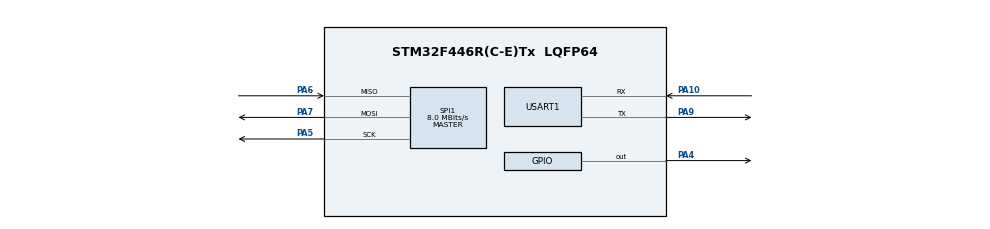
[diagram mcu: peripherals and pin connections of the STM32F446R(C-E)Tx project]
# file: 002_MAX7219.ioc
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Mcu.Family=STM32F4
Mcu.Name=STM32F446R(C-E)Tx
Mcu.Package=LQFP64
NVIC.PriorityGroup=NVIC_PRIORITYGROUP_4
NVIC.SPI1_IRQn=true\:0\:0\:false\:false\:true\:true\:true\:true
NVIC.USART1_IRQn=true\:0\:0\:false\:false\:true\:true\:true\:true
PA10.Mode=Asynchronous
PA10.Signal=USART1_RX
PA4.Signal=GPIO_Output
PA5.Mode=Full_Duplex_Master
PA5.Signal=SPI1_SCK
PA6.Mode=Full_Duplex_Master
PA6.Signal=SPI1_MISO
PA7.Mode=Full_Duplex_Master
PA7.Signal=SPI1_MOSI
PA9.Mode=Asynchronous
PA9.Signal=USART1_TX
ProjectManager.HeapSize=0x200
ProjectManager.StackSize=0x400
ProjectManager.TargetToolchain=STM32CubeIDE
RCC.CortexFreq_Value=16000000
RCC.USBFreq_Value=96000000
RCC.VCOOutputFreq_Value=192000000
SPI1.CalculateBaudRate=8.0 MBits/s
SPI1.Direction=SPI_DIRECTION_2LINES
SPI1.Mode=SPI_MODE_MASTER
SPI1.VirtualType=VM_MASTER
USART1.VirtualMode=VM_ASYNC
board=custom

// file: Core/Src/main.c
/* USER CODE BEGIN Header */
/**
  ******************************************************************************
  * @file           : main.c
  * @brief          : Main program body
  ******************************************************************************
  * @attention
  *
  * Copyright (c) 2025 STMicroelectronics.
  * All rights reserved.
  *
  * This software is licensed under terms that can be found in the LICENSE file
  * in the root directory of this software component.
  * If no LICENSE file comes with this software, it is provided AS-IS.
  *
  ******************************************************************************
  */
/* USER CODE END Header */
#include "main.h"

/* USER CODE BEGIN Includes */
#include "driver_max7219.h"
#include "driver_max7219_interface.h"
/* USER CODE END Includes */

/* USER CODE BEGIN PD */
#define MATRIX_CASCADE_TEST_LENGTH 4;
/* USER CODE END PD */

SPI_HandleTypeDef hspi1;

UART_HandleTypeDef huart1;

/* USER CODE BEGIN PV */
max7219_handle_t g_max7219_handle;
/* USER CODE END PV */

void SystemClock_Config(void);
static void MX_GPIO_Init(void);
static void MX_SPI1_Init(void);
static void MX_USART1_UART_Init(void);
/* USER CODE BEGIN PFP */
uint8_t max7219_dot_matrix_init(void);
void max7219_example_main(void);
void max7219_clear_all(void);
void max7219_display_pattern(void);
void max7219_display_hello(void);
void max7219_test_display(void);
/* USER CODE END PFP */

int main(void)
{

  /* MCU Configuration--------------------------------------------------------*/

  /* Reset of all peripherals, Initializes the Flash interface and the Systick. */
  HAL_Init();

  /* Configure the system clock */
  SystemClock_Config();

  /* Initialize all configured peripherals */
  MX_GPIO_Init();
  MX_SPI1_Init();
  MX_USART1_UART_Init();
  /* USER CODE BEGIN 2 */
  max7219_example_main();
  /* USER CODE END 2 */

  /* Infinite loop */
  while (1)
  {

  }
}

void SystemClock_Config(void)
{
  RCC_OscInitTypeDef RCC_OscInitStruct = {0};
  RCC_ClkInitTypeDef RCC_ClkInitStruct = {0};

  /** Configure the main internal regulator output voltage
  */
  __HAL_RCC_PWR_CLK_ENABLE();
  __HAL_PWR_VOLTAGESCALING_CONFIG(PWR_REGULATOR_VOLTAGE_SCALE3);

  /** Initializes the RCC Oscillators according to the specified parameters
  * in the RCC_OscInitTypeDef structure.
  */
  RCC_OscInitStruct.OscillatorType = RCC_OSCILLATORTYPE_HSI;
  RCC_OscInitStruct.HSIState = RCC_HSI_ON;
  RCC_OscInitStruct.HSICalibrationValue = RCC_HSICALIBRATION_DEFAULT;
  RCC_OscInitStruct.PLL.PLLState = RCC_PLL_NONE;
  if (HAL_RCC_OscConfig(&RCC_OscInitStruct) != HAL_OK)
  {
    Error_Handler();
  }

  /** Initializes the CPU, AHB and APB buses clocks
  */
  RCC_ClkInitStruct.ClockType = RCC_CLOCKTYPE_HCLK|RCC_CLOCKTYPE_SYSCLK
                              |RCC_CLOCKTYPE_PCLK1|RCC_CLOCKTYPE_PCLK2;
  RCC_ClkInitStruct.SYSCLKSource = RCC_SYSCLKSOURCE_HSI;
  RCC_ClkInitStruct.AHBCLKDivider = RCC_SYSCLK_DIV1;
  RCC_ClkInitStruct.APB1CLKDivider = RCC_HCLK_DIV1;
  RCC_ClkInitStruct.APB2CLKDivider = RCC_HCLK_DIV1;

  if (HAL_RCC_ClockConfig(&RCC_ClkInitStruct, FLASH_LATENCY_0) != HAL_OK)
  {
    Error_Handler();
  }
}

static void MX_SPI1_Init(void)
{

  /* SPI1 parameter configuration*/
  hspi1.Instance = SPI1;
  hspi1.Init.Mode = SPI_MODE_MASTER;
  hspi1.Init.Direction = SPI_DIRECTION_2LINES;
  hspi1.Init.DataSize = SPI_DATASIZE_8BIT;
  hspi1.Init.CLKPolarity = SPI_POLARITY_LOW;
  hspi1.Init.CLKPhase = SPI_PHASE_1EDGE;
  hspi1.Init.NSS = SPI_NSS_SOFT;
  hspi1.Init.BaudRatePrescaler = SPI_BAUDRATEPRESCALER_2;
  hspi1.Init.FirstBit = SPI_FIRSTBIT_MSB;
  hspi1.Init.TIMode = SPI_TIMODE_DISABLE;
  hspi1.Init.CRCCalculation = SPI_CRCCALCULATION_DISABLE;
  hspi1.Init.CRCPolynomial = 10;
  if (HAL_SPI_Init(&hspi1) != HAL_OK)
  {
    Error_Handler();
  }

}

static void MX_USART1_UART_Init(void)
{

  huart1.Instance = USART1;
  huart1.Init.BaudRate = 115200;
  huart1.Init.WordLength = UART_WORDLENGTH_8B;
  huart1.Init.StopBits = UART_STOPBITS_1;
  huart1.Init.Parity = UART_PARITY_NONE;
  huart1.Init.Mode = UART_MODE_TX_RX;
  huart1.Init.HwFlowCtl = UART_HWCONTROL_NONE;
  huart1.Init.OverSampling = UART_OVERSAMPLING_16;
  if (HAL_UART_Init(&huart1) != HAL_OK)
  {
    Error_Handler();
  }

}

static void MX_GPIO_Init(void)
{
  GPIO_InitTypeDef GPIO_InitStruct = {0};

  /* GPIO Ports Clock Enable */
  __HAL_RCC_GPIOA_CLK_ENABLE();

  /*Configure GPIO pin Output Level */
  HAL_GPIO_WritePin(GPIOA, GPIO_PIN_4, GPIO_PIN_RESET);

  /*Configure GPIO pin : PA4 */
  GPIO_InitStruct.Pin = GPIO_PIN_4;
  GPIO_InitStruct.Mode = GPIO_MODE_OUTPUT_PP;
  GPIO_InitStruct.Pull = GPIO_NOPULL;
  GPIO_InitStruct.Speed = GPIO_SPEED_FREQ_LOW;
  HAL_GPIO_Init(GPIOA, &GPIO_InitStruct);

  /* USER CODE BEGIN MX_GPIO_Init_2 */
  HAL_GPIO_WritePin(GPIOA, GPIO_PIN_4, GPIO_PIN_SET);
  /* USER CODE END MX_GPIO_Init_2 */
}

/* USER CODE BEGIN 4 */
uint8_t max7219_dot_matrix_init(void)
{
    uint8_t res;

    // link functions
    DRIVER_MAX7219_LINK_INIT(&g_max7219_handle, max7219_handle_t);
    DRIVER_MAX7219_LINK_SPI_INIT(&g_max7219_handle, max7219_interface_spi_init);
    DRIVER_MAX7219_LINK_SPI_DEINIT(&g_max7219_handle, max7219_interface_spi_deinit);
    DRIVER_MAX7219_LINK_SPI_WRITE(&g_max7219_handle, max7219_interface_spi_write);
    DRIVER_MAX7219_LINK_SPI_WRITE_COMMAND(&g_max7219_handle, max7219_interface_spi_write_cmd);
    DRIVER_MAX7219_LINK_DELAY_MS(&g_max7219_handle, max7219_interface_delay_ms);
    DRIVER_MAX7219_LINK_DEBUG_PRINT(&g_max7219_handle, max7219_interface_debug_print);

    // max7219 init
    res = max7219_init(&g_max7219_handle);
    if (res != 0)
    {
        max7219_interface_debug_print("MAX7219: init failed\r\n");
        return 1;
    }

    // configure for 4 cascaded displays
    max7219_cascade_t cascade_init[4];

    // set no decode
    for (int i = 0; i < 4; i++)
    {
        cascade_init[i].command = MAX7219_CASCADE_COMMAND_DECODE;
        cascade_init[i].data = MAX7219_DECODE_CODEB_DIGITS_NONE;
    }
    res = max7219_set_cascade(&g_max7219_handle, cascade_init, 4);
    if (res != 0)
    {
    	max7219_interface_debug_print("max7219: set cascade failed.\n");

    	return 1;
    }

    // set intensity
    for (int i = 0; i < 4; i++)
    {
        cascade_init[i].command = MAX7219_CASCADE_COMMAND_INTENSITY;
        cascade_init[i].data = MAX7219_INTENSITY_31_32;
    }
    res = max7219_set_cascade(&g_max7219_handle, cascade_init, 4);
    if (res != 0) return 1;

    // set scan limit digit 0-7
    for (int i = 0; i < 4; i++)
    {
        cascade_init[i].command = MAX7219_CASCADE_COMMAND_SCAN_LIMIT;
        cascade_init[i].data = MAX7219_SCAN_LIMIT_DIGIT_0_7;
    }
    res = max7219_set_cascade(&g_max7219_handle, cascade_init, 4);
    if (res != 0) return 1;

    // turn on normal mode for all displays
    for (int i = 0; i < 4; i++)
    {
        cascade_init[i].command = MAX7219_CASCADE_COMMAND_SHUT_DOWN;
        cascade_init[i].data = MAX7219_MODE_NORMAL;
    }
    res = max7219_set_cascade(&g_max7219_handle, cascade_init, 4);
    if (res != 0) return 1;

    // turn off display test for all displays
    for (int i = 0; i < 4; i++)
    {
        cascade_init[i].command = MAX7219_CASCADE_COMMAND_DISPLAY_TEST;
        cascade_init[i].data = MAX7219_DISPLAY_TEST_MODE_OFF;
    }
    res = max7219_set_cascade(&g_max7219_handle, cascade_init, 4);
    if (res != 0) return 1;

    max7219_interface_debug_print("MAX7219: 4-in-1 dot matrix initialized\r\n");
    return 0;
}

/**
 * @brief Clear all displays
 */
void max7219_clear_all(void)
{
    max7219_cascade_t cascade_data[4];

    // clear all rows for all displays
    for (int row = 1; row <= 8; row++)
    {
        for (int display = 0; display < 4; display++)
        {
            cascade_data[display].command = (max7219_cascade_command_t)row;
            cascade_data[display].data = 0x00;
        }
        max7219_set_cascade(&g_max7219_handle, cascade_data, 4);
    }
}

/**
 * @brief Display a simple pattern on all matrices
 */
void max7219_display_pattern(void)
{
    max7219_cascade_t cascade_data[4];

    // simple patterns for each display
    uint8_t patterns[4][8] = {
        // display 0: Smiley face
        {0x3C, 0x42, 0xA5, 0x81, 0xA5, 0x99, 0x42, 0x3C},
        // display 1: Heart
        {0x00, 0x66, 0xFF, 0xFF, 0x7E, 0x3C, 0x18, 0x00},
        // display 2: Diamond
        {0x18, 0x3C, 0x7E, 0xFF, 0xFF, 0x7E, 0x3C, 0x18},
        // display 3: Cross
        {0x18, 0x18, 0x18, 0xFF, 0xFF, 0x18, 0x18, 0x18}
    };

    // send each row to all displays
    for (int row = 0; row < 8; row++)
    {
        for (int display = 0; display < 4; display++)
        {
            cascade_data[display].command = (max7219_cascade_command_t)(row + 1);
            cascade_data[display].data = patterns[display][row];
        }
        max7219_set_cascade(&g_max7219_handle, cascade_data, 4);
    }
}

/**
 * @brief Display text "ABCD"
 */
void max7219_display_abcd(void)
{
    max7219_cascade_t cascade_data[4];

    // letter patterns (8x8 each)
    uint8_t letter_A[8] = {0x7E, 0x81, 0x81, 0x81, 0xFF, 0x81, 0x81, 0x81};
    uint8_t letter_B[8] = {0xFE, 0x81, 0x81, 0xFE, 0x81, 0x81, 0x81, 0xFE};
    uint8_t letter_C[8] = {0x7E, 0x81, 0x80, 0x80, 0x80, 0x80, 0x81, 0x7E};
    uint8_t letter_D[8] = {0xFE, 0x81, 0x81, 0x81, 0x81, 0x81, 0x81, 0xFE};

    uint8_t* letters[4] = {letter_A, letter_B, letter_C, letter_D};

    // display each letter on corresponding matrix
    for (int row = 0; row < 8; row++)
    {
        for (int display = 0; display < 4; display++)
        {
            cascade_data[display].command = (max7219_cascade_command_t)(row + 1);
            cascade_data[display].data = letters[display][row];
        }
        max7219_set_cascade(&g_max7219_handle, cascade_data, 4);
    }
}

/**
 * @brief Test all LEDs (display test mode)
 */
void max7219_test_display(void)
{
    max7219_cascade_t cascade_data[4];

    // turn on display test for all displays
    for (int i = 0; i < 4; i++)
    {
        cascade_data[i].command = MAX7219_CASCADE_COMMAND_DISPLAY_TEST;
        cascade_data[i].data = MAX7219_DISPLAY_TEST_MODE_ON;
    }
    max7219_set_cascade(&g_max7219_handle, cascade_data, 4);

    HAL_Delay(2000);

    // turn off display test for all displays
    for (int i = 0; i < 4; i++)
    {
        cascade_data[i].command = MAX7219_CASCADE_COMMAND_DISPLAY_TEST;
        cascade_data[i].data = MAX7219_DISPLAY_TEST_MODE_OFF;
    }
    max7219_set_cascade(&g_max7219_handle, cascade_data, 4);
}

void max7219_example_main(void)
{
    // init
    if (max7219_dot_matrix_init() != 0)
    {
        max7219_interface_debug_print("Failed to initialize MAX7219\r\n");
        return;
    }

    while (1)
    {
        // test all LEDs
        max7219_interface_debug_print("Testing all LEDs...\r\n");
        max7219_test_display();
        HAL_Delay(1000);

        // clear display
        max7219_interface_debug_print("Clearing display...\r\n");
        max7219_clear_all();
        HAL_Delay(1000);

        // show patterns
        max7219_interface_debug_print("Showing patterns...\r\n");
        max7219_display_pattern();
        HAL_Delay(3000);

        // clear and show ABCD
        max7219_clear_all();
        HAL_Delay(500);
        max7219_interface_debug_print("Showing ABCD...\r\n");
        max7219_display_abcd();
        HAL_Delay(3000);

        // clear for next iteration
        max7219_clear_all();
        HAL_Delay(1000);
    }
}
/* USER CODE END 4 */

void Error_Handler(void)
{
  __disable_irq();
  while (1)
  {
  }
}
